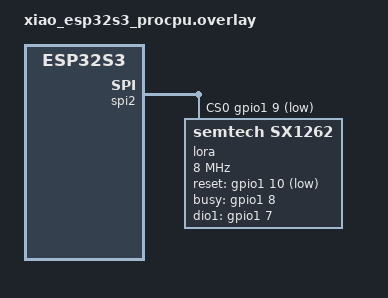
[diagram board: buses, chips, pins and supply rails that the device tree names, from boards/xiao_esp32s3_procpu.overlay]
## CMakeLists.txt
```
cmake_minimum_required(VERSION 3.20.0)

# The RadioMesh module (zephyr/module.yml) is discovered automatically when this
# repo is on the west manifest; its zephyr/CMakeLists.txt adds the src/ include
# root when CONFIG_RADIOMESH=y (set in prj.conf).
find_package(Zephyr REQUIRED HINTS $ENV{ZEPHYR_BASE})
project(radiomesh_m1_bringup CXX)

target_sources(app PRIVATE src/main.cpp)
```

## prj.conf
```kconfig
# --- LoRa PHY stack (native in-tree SX126x backend; loramac-node is deprecated) ---
CONFIG_LORA=y
CONFIG_LORA_MODULE_BACKEND_NATIVE=y
CONFIG_SPI=y
CONFIG_GPIO=y

# --- C++17 with full STL (RadioMeshPacket uses std::vector/std::array/std::string) ---
CONFIG_CPP=y
CONFIG_STD_CPP17=y
CONFIG_REQUIRES_FULL_LIBC=y
CONFIG_GLIBCXX_LIBCPP=y
CONFIG_CPP_EXCEPTIONS=y

# --- Heap for std::vector/std::string allocations (tune on-target if needed) ---
CONFIG_COMMON_LIBC_MALLOC_ARENA_SIZE=16384

# --- Logging (deferred + delayed flush so boot-time driver logs survive USB-JTAG enumeration) ---
CONFIG_LOG=y
CONFIG_LOG_PROCESS_THREAD_STARTUP_DELAY_MS=3000
CONFIG_LORA_LOG_LEVEL_DBG=y
CONFIG_PRINTK=y

# --- Stack sizing (LoRa + STL on the main thread) ---
CONFIG_MAIN_STACK_SIZE=8192

# --- RadioMesh neutral core (zephyr/Kconfig) ---
CONFIG_RADIOMESH=y
```

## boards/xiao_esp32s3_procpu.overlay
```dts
/*
 * RadioMesh M1 — devicetree overlay: Seeed XIAO ESP32-S3 + Wio-SX1262.
 *
 * Pin mapping is the AUTHORITATIVE Wio-SX1262 wiring, cross-confirmed by three
 * independent sources that all agree these are raw ESP32-S3 GPIO numbers:
 *   - RadioMesh's own Arduino preset XIAO_ESP32S3_WIO_SX1262 = PinConfig(41,42,40,39)
 *   - the XIAO ESP32-S3 Arduino variant uses identity pin numbering (no remap)
 *
 *   Signal   GPIO   Zephyr DT              (GPIO N>=32 lives on gpio1, pin N-32)
 *   NSS/CS   41     <&gpio1 9>
 *   RST      42     <&gpio1 10>
 *   BUSY     40     <&gpio1 8>
 *   DIO1     39     <&gpio1 7>
 *   SCK/MOSI/MISO  7/9/8   board pinctrl (spim2_default)
 *   DIO2 -> SX1262 internal RF switch (dio2-tx-enable / SX126X_DIO2_AS_RF_SWITCH)
 *   DIO3 -> SX1262 TCXO power 1.8 V (dio3-tcxo-voltage)
 *   RXEN = GPIO38 (external antenna RX-enable; handled for OTA, not needed for init)
 *
 * NOTE: gpio1-bank pins (GPIO>=32) require Zephyr's gpio_esp32 fix that uses
 * BIT64() in gpio_pin_is_valid() (fixed on main; our pinned 4.4.0 needs the patch).
 */
#include <zephyr/dt-bindings/lora/sx126x.h>

/ {
	aliases {
		lora0 = &lora;
	};
};

&spi2 {
	status = "okay";
	cs-gpios = <&gpio1 9 GPIO_ACTIVE_LOW>; /* NSS/CS = GPIO41 */

	lora: lora@0 {
		compatible = "semtech,sx1262";
		reg = <0>;
		spi-max-frequency = <8000000>;
		reset-gpios = <&gpio1 10 GPIO_ACTIVE_LOW>; /* RST  = GPIO42 */
		busy-gpios = <&gpio1 8 GPIO_ACTIVE_HIGH>;  /* BUSY = GPIO40 */
		dio1-gpios = <&gpio1 7 GPIO_ACTIVE_HIGH>;  /* DIO1 = GPIO39 */
		dio2-tx-enable;                            /* SX1262 DIO2 -> internal RF switch */
		dio3-tcxo-voltage = <SX126X_DIO3_TCXO_1V8>; /* SX1262 DIO3 -> TCXO 1.8 V */
		tcxo-power-startup-delay-ms = <10>;
		status = "okay";
	};
};
```

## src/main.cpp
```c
/*
 * RadioMesh Zephyr port — Milestone 1 tracer bullet.
 *
 * Symmetric firmware: flash the SAME image to BOTH XIAO ESP32-S3 + Wio SX1262
 * nodes. Each node periodically transmits a RadioMeshPacket built with the
 * co-compiled RadioMesh core, and otherwise listens. On reception it parses the
 * incoming bytes via the RadioMeshPacket buffer constructor, re-computes the
 * payload CRC32, and logs the decoded header fields.
 *
 * M1 success = the platform-neutral M0 core (RadioMeshPacket + CRC32) drives a
 * real Zephyr LoRa link end to end. No routing, relay, crypto, or inclusion.
 *
 * PHY config MUST match the Arduino RadioMesh XIAO preset for D5 interop:
 *   915 MHz, BW 125 kHz, SF8, CR 4/7, preamble 8, TX power 20 dBm,
 *   private sync word => SX126x public_network = false.
 * CR 4/7 and preamble 8 are RadioLib 7.1.0 begin() defaults (never set
 * explicitly on the Arduino side); pinned here so both stacks demodulate.
 */

#include <zephyr/device.h>
#include <zephyr/drivers/lora.h>
#include <zephyr/kernel.h>
#include <zephyr/logging/log.h>

#include <vector>

#include <common/utils/RadioMeshCrc32.h>
#include <core/protocol/inc/packet/Packet.h>

LOG_MODULE_REGISTER(rm_m1, LOG_LEVEL_INF);

#define LORA_NODE DT_ALIAS(lora0)
BUILD_ASSERT(DT_NODE_HAS_STATUS(LORA_NODE, okay),
             "lora0 alias not defined / not okay in the devicetree overlay");

#define APP_TOPIC 0x10
#define RX_WINDOW K_SECONDS(5)
#define MAX_LORA_LEN 255

static uint32_t payload_crc(const std::vector<byte>& data)
{
    RadioMeshUtils::CRC32 crc;
    crc.update(data.data(), data.size());
    return crc.finalize();
}

static void set_direction(const struct device* dev, bool tx)
{
    struct lora_modem_config cfg = {};
    cfg.frequency = 915000000;
    cfg.bandwidth = BW_125_KHZ;
    cfg.datarate = SF_8;
    cfg.coding_rate = CR_4_7;
    cfg.preamble_len = 8;
    cfg.tx_power = 20;
    cfg.tx = tx;
    cfg.iq_inverted = false;
    cfg.public_network = false; // private sync word (matches Arduino privateNetwork=true)

    int ret = lora_config(dev, &cfg);
    if (ret < 0) {
        LOG_ERR("lora_config(tx=%d) failed: %d", (int)tx, ret);
    }
}

int main(void)
{
    // The ESP32-S3 USB-Serial-JTAG console discards TX until a host attaches
    // (~1.5 s after power-up). Delay first output past enumeration so boot
    // diagnostics are observable.
    k_sleep(K_MSEC(2000));
    printk("\n=== RadioMesh M1 tracer bullet starting ===\n");

    const struct device* lora = DEVICE_DT_GET(LORA_NODE);

    if (!device_is_ready(lora)) {
        while (true) {
            printk("FATAL: LoRa device not ready\n");
            k_sleep(K_SECONDS(2));
        }
    }
    printk("LoRa device ready\n");
    LOG_INF("RadioMesh M1 bring-up: LoRa device ready");

    uint32_t fcounter = 0;

    while (true) {
        // ---- Build + transmit a RadioMeshPacket via the co-compiled core ----
        RadioMeshPacket pkt;
        pkt.topic = APP_TOPIC;
        pkt.sourceDevId = {0x00, 0x00, 0x00, 0x01};
        pkt.destDevId = {0xFF, 0xFF, 0xFF, 0xFF};
        pkt.packetId = {(byte)(fcounter >> 24), (byte)(fcounter >> 16), (byte)(fcounter >> 8),
                        (byte)fcounter};
        pkt.fcounter = fcounter;
        pkt.packetData = {'R', 'M', (byte)(fcounter & 0xFF)};
        pkt.packetCrc = payload_crc(pkt.packetData); // "Data CRC" field = payload integrity

        std::vector<byte> buf = pkt.toByteBuffer();

        set_direction(lora, true);
        int ret = lora_send(lora, buf.data(), buf.size());
        LOG_INF("TX fcounter=%u len=%u ret=%d", fcounter, (unsigned)buf.size(), ret);
        fcounter++;

        // ---- Listen for a packet from the peer node ----
        set_direction(lora, false);

        uint8_t rx[MAX_LORA_LEN];
        int16_t rssi = 0;
        int8_t snr = 0;
        int len = lora_recv(lora, rx, sizeof(rx), RX_WINDOW, &rssi, &snr);
        if (len <= 0) {
            continue; // timeout / no packet this window
        }

        std::vector<byte> rbuf(rx, rx + len);
        RadioMeshPacket rpkt(rbuf);
        bool crc_ok = (payload_crc(rpkt.packetData) == rpkt.packetCrc);

        LOG_INF("RX len=%d rssi=%d snr=%d | topic=0x%02x fcounter=%u dataLen=%u crc=%s", len, rssi,
                (int)snr, rpkt.topic, rpkt.fcounter, (unsigned)rpkt.packetData.size(),
                crc_ok ? "OK" : "BAD");
    }

    return 0;
}
```
